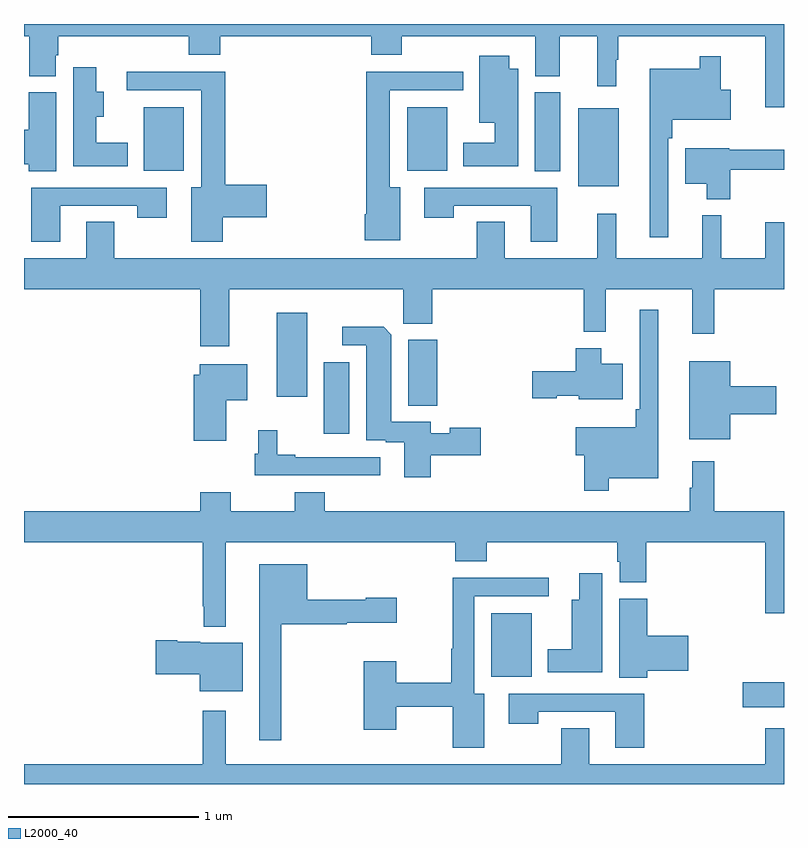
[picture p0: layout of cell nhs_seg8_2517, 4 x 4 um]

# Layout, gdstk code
import gdstk
lib = gdstk.Library(unit=1e-6, precision=1e-09)
def R(c, l, rs):  # rectangles x0, y0, x1, y1
    for r in rs: c.add(gdstk.rectangle(r[:2], r[2:], *l))
def P(c, l, *ps):  # polygons
    for p in ps: c.add(gdstk.Polygon(p, *l))
L2000_40 = (2000, 40)

nhs_seg8_2517 = lib.new_cell('nhs_seg8_2517')
R(nhs_seg8_2517, L2000_40, [(272.784,1110.305,273,1110.435), (271.46,1110.464,271.672,1110.799), (270.578,1111.743,270.712,1112.119), (271.022,1111.891,271.175,1112.238), (270.329,1111.938,270.49,1112.38), (271.916,1113.047,272.131,1113.457), (271.688,1113.124,271.822,1113.54), (269.63,1113.128,269.842,1113.463), (271.016,1113.128,271.228,1113.463)])
P(nhs_seg8_2517, L2000_40, [(269,1113.836),(269.027,1113.836),(269.027,1113.625),(269.167,1113.625),(269.167,1113.735),(269.18,1113.735),(269.18,1113.836),(269.867,1113.836),(269.867,1113.737),(270.032,1113.737),(270.032,1113.836),(270.827,1113.836),(270.827,1113.737),(270.987,1113.737),(270.987,1113.836),(271.691,1113.836),(271.691,1113.625),(271.819,1113.625),(271.819,1113.836),(272.018,1113.836),(272.018,1113.573),(272.116,1113.573),(272.116,1113.713),(272.128,1113.713),(272.128,1113.836),(272.9,1113.836),(272.9,1113.462),(273,1113.462),(273,1113.9),(269,1113.9)],
  [(271.6,1113.664),(271.555,1113.664),(271.555,1113.733),(271.397,1113.733),(271.397,1113.38),(271.478,1113.38),(271.478,1113.274),(271.313,1113.274),(271.313,1113.152),(271.6,1113.152)],
  [(272.391,1113.299),(272.411,1113.299),(272.411,1113.395),(272.719,1113.395),(272.719,1113.553),(272.667,1113.553),(272.667,1113.73),(272.556,1113.73),(272.556,1113.664),(272.294,1113.664),(272.294,1112.778),(272.391,1112.778)],
  [(269.545,1113.274),(269.38,1113.274),(269.38,1113.413),(269.419,1113.413),(269.419,1113.543),(269.38,1113.543),(269.38,1113.673),(269.258,1113.673),(269.258,1113.152),(269.545,1113.152)],
  [(270.046,1112.882),(270.277,1112.882),(270.277,1113.053),(270.059,1113.053),(270.059,1113.65),(269.541,1113.65),(269.541,1113.552),(269.933,1113.552),(269.933,1113.04),(269.879,1113.04),(269.879,1112.754),(270.046,1112.754)],
  [(270.979,1113.04),(270.925,1113.04),(270.925,1113.552),(271.312,1113.552),(271.312,1113.65),(270.8,1113.65),(270.8,1112.898),(270.794,1112.898),(270.794,1112.762),(270.979,1112.762)],
  [(269.17,1113.54),(269.024,1113.54),(269.024,1113.344),(269,1113.344),(269,1113.161),(269.024,1113.161),(269.024,1113.124),(269.17,1113.124)],
  [(272.716,1113.133),(273,1113.133),(273,1113.237),(272.712,1113.237),(272.712,1113.247),(272.48,1113.247),(272.48,1113.059),(272.594,1113.059),(272.594,1112.978),(272.716,1112.978)],
  [(269.191,1112.943),(269.596,1112.943),(269.596,1112.88),(269.752,1112.88),(269.752,1113.039),(269.039,1113.039),(269.039,1112.754),(269.191,1112.754)],
  [(271.807,1113.039),(271.107,1113.039),(271.107,1112.88),(271.263,1112.88),(271.263,1112.943),(271.667,1112.943),(271.667,1112.754),(271.807,1112.754)],
  [(269.475,1112.858),(269.327,1112.858),(269.327,1112.668),(269,1112.668),(269,1112.504),(269.927,1112.504),(269.927,1112.205),(270.079,1112.205),(270.079,1112.504),(270.997,1112.504),(270.997,1112.323),(271.148,1112.323),(271.148,1112.504),(271.945,1112.504),(271.945,1112.279),(272.063,1112.279),(272.063,1112.504),(272.516,1112.504),(272.516,1112.271),(272.633,1112.271),(272.633,1112.504),(273,1112.504),(273,1112.857),(272.9,1112.857),(272.9,1112.668),(272.67,1112.668),(272.67,1112.893),(272.57,1112.893),(272.57,1112.668),(272.117,1112.668),(272.117,1112.902),(272.018,1112.902),(272.018,1112.668),(271.531,1112.668),(271.531,1112.858),(271.384,1112.858),(271.384,1112.668),(269.475,1112.668)],
  [(272.077,1111.508),(272.338,1111.508),(272.338,1112.395),(272.241,1112.395),(272.241,1111.873),(272.221,1111.873),(272.221,1111.777),(271.904,1111.777),(271.904,1111.63),(271.948,1111.63),(271.948,1111.443),(272.077,1111.443)],
  [(271.141,1111.63),(271.405,1111.63),(271.405,1111.774),(271.242,1111.774),(271.242,1111.747),(271.141,1111.747),(271.141,1111.806),(270.934,1111.806),(270.934,1112.264),(270.893,1112.306),(270.675,1112.306),(270.675,1112.208),(270.8,1112.208),(270.8,1111.71),(270.905,1111.71),(270.905,1111.698),(271.001,1111.698),(271.001,1111.515),(271.141,1111.515)],
  [(272.152,1112.113),(272.038,1112.113),(272.038,1112.194),(271.904,1112.194),(271.904,1112.073),(271.674,1112.073),(271.674,1111.931),(271.803,1111.931),(271.803,1111.943),(271.92,1111.943),(271.92,1111.925),(272.152,1111.925)],
  [(272.716,1111.847),(272.959,1111.847),(272.959,1111.994),(272.716,1111.994),(272.716,1112.125),(272.501,1112.125),(272.501,1111.715),(272.716,1111.715)],
  [(270.064,1111.919),(270.175,1111.919),(270.175,1112.11),(269.924,1112.11),(269.924,1112.055),(269.894,1112.055),(269.894,1111.707),(270.064,1111.707)],
  [(270.874,1111.62),(270.427,1111.62),(270.427,1111.633),(270.333,1111.633),(270.333,1111.762),(270.233,1111.762),(270.233,1111.638),(270.214,1111.638),(270.214,1111.524),(270.874,1111.524)],
  [(270.061,1111.172),(271.271,1111.172),(271.271,1111.073),(271.436,1111.073),(271.436,1111.172),(272.123,1111.172),(272.123,1111.071),(272.135,1111.071),(272.135,1110.961),(272.276,1110.961),(272.276,1111.172),(272.9,1111.172),(272.9,1110.798),(273,1110.798),(273,1111.336),(272.633,1111.336),(272.633,1111.6),(272.516,1111.6),(272.516,1111.46),(272.505,1111.46),(272.505,1111.336),(270.584,1111.336),(270.584,1111.435),(270.424,1111.435),(270.424,1111.336),(270.087,1111.336),(270.087,1111.435),(269.927,1111.435),(269.927,1111.336),(269,1111.336),(269,1111.172),(269.94,1111.172),(269.94,1110.835),(269.947,1110.835),(269.947,1110.728),(270.061,1110.728)],
  [(270.353,1110.742),(270.698,1110.742),(270.698,1110.749),(270.961,1110.749),(270.961,1110.879),(270.798,1110.879),(270.798,1110.871),(270.49,1110.871),(270.49,1111.057),(270.239,1111.057),(270.239,1110.129),(270.353,1110.129)],
  [(272.044,1111.009),(271.922,1111.009),(271.922,1110.871),(271.883,1110.871),(271.883,1110.61),(271.757,1110.61),(271.757,1110.488),(272.044,1110.488)],
  [(271.423,1110.376),(271.369,1110.376),(271.369,1110.888),(271.762,1110.888),(271.762,1110.986),(271.256,1110.986),(271.256,1110.611),(271.249,1110.611),(271.249,1110.434),(270.96,1110.434),(270.96,1110.547),(270.787,1110.547),(270.787,1110.186),(270.96,1110.186),(270.96,1110.306),(271.256,1110.306),(271.256,1110.09),(271.423,1110.09)],
  [(272.279,1110.497),(272.497,1110.497),(272.497,1110.68),(272.279,1110.68),(272.279,1110.876),(272.132,1110.876),(272.132,1110.46),(272.279,1110.46)],
  [(270.151,1110.643),(269.928,1110.643),(269.928,1110.649),(269.806,1110.649),(269.806,1110.656),(269.694,1110.656),(269.694,1110.478),(269.924,1110.478),(269.924,1110.389),(270.151,1110.389)],
  [(272.264,1110.375),(271.551,1110.375),(271.551,1110.216),(271.707,1110.216),(271.707,1110.279),(272.111,1110.279),(272.111,1110.09),(272.264,1110.09)],
  [(273,1110.193),(272.9,1110.193),(272.9,1110.004),(271.975,1110.004),(271.975,1110.194),(271.828,1110.194),(271.828,1110.004),(270.061,1110.004),(270.061,1110.286),(269.94,1110.286),(269.94,1110.004),(269,1110.004),(269,1109.9),(273,1109.9)])

lib.write_gds('nhs_seg8_2517.gds')
